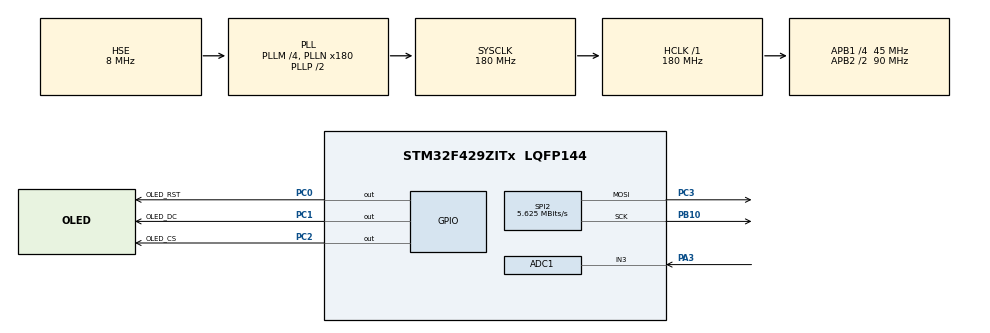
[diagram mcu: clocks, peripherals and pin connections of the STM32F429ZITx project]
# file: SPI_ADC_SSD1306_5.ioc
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ADC1.Channel-0\#ChannelRegularConversion=ADC_CHANNEL_3
ADC1.ContinuousConvMode=DISABLE
ADC1.DiscontinuousConvMode=ENABLE
ADC1.NbrOfConversionFlag=1
ADC1.Rank-0\#ChannelRegularConversion=1
ADC1.SamplingTime-0\#ChannelRegularConversion=ADC_SAMPLETIME_3CYCLES
ADC1.ScanConvMode=ENABLE
ADC1.master=1
Mcu.Family=STM32F4
Mcu.Name=STM32F429ZITx
Mcu.Package=LQFP144
NVIC.PriorityGroup=NVIC_PRIORITYGROUP_4
PA3.Signal=ADCx_IN3
PB10.Mode=TX_Only_Simplex_Unidirect_Master
PB10.Signal=SPI2_SCK
PC0.GPIO_Label=OLED_RST
PC0.GPIO_PuPd=GPIO_PULLUP
PC0.GPIO_Speed=GPIO_SPEED_FREQ_HIGH
PC0.PinState=GPIO_PIN_SET
PC0.Signal=GPIO_Output
PC1.GPIO_Label=OLED_DC
PC1.GPIO_PuPd=GPIO_PULLUP
PC1.GPIO_Speed=GPIO_SPEED_FREQ_HIGH
PC1.PinState=GPIO_PIN_SET
PC1.Signal=GPIO_Output
PC2.GPIO_Label=OLED_CS
PC2.GPIO_PuPd=GPIO_PULLUP
PC2.GPIO_Speed=GPIO_SPEED_FREQ_HIGH
PC2.PinState=GPIO_PIN_SET
PC2.Signal=GPIO_Output
PC3.Mode=TX_Only_Simplex_Unidirect_Master
PC3.Signal=SPI2_MOSI
PH0/OSC_IN.Mode=HSE-External-Oscillator
PH0/OSC_IN.Signal=RCC_OSC_IN
PH1/OSC_OUT.Mode=HSE-External-Oscillator
PH1/OSC_OUT.Signal=RCC_OSC_OUT
ProjectManager.HeapSize=0x200
ProjectManager.StackSize=0x400
ProjectManager.TargetToolchain=STM32CubeIDE
RCC.48MHZClocksFreq_Value=90000000
RCC.AHBFreq_Value=180000000
RCC.APB1CLKDivider=RCC_HCLK_DIV4
RCC.APB1Freq_Value=45000000
RCC.APB1TimFreq_Value=90000000
RCC.APB2CLKDivider=RCC_HCLK_DIV2
RCC.APB2Freq_Value=90000000
RCC.APB2TimFreq_Value=180000000
RCC.CortexFreq_Value=180000000
RCC.HCLKFreq_Value=180000000
RCC.HSE_VALUE=8000000
RCC.HSI_VALUE=16000000
RCC.LSE_VALUE=32768
RCC.PLLM=4
RCC.PLLN=180
RCC.PLLSourceVirtual=RCC_PLLSOURCE_HSE
RCC.SYSCLKFreq_VALUE=180000000
RCC.SYSCLKSource=RCC_SYSCLKSOURCE_PLLCLK
RCC.VCOOutputFreq_Value=360000000
SH.ADCx_IN3.0=ADC1_IN3,IN3
SPI2.BaudRatePrescaler=SPI_BAUDRATEPRESCALER_8
SPI2.CalculateBaudRate=5.625 MBits/s
SPI2.Direction=SPI_DIRECTION_2LINES
SPI2.Mode=SPI_MODE_MASTER
SPI2.VirtualType=VM_MASTER
board=custom

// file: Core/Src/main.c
/* USER CODE BEGIN Header */
/**
  ******************************************************************************
  * @file           : main.c
  * @brief          : Main program body
  ******************************************************************************
  * @attention
  *
  * Copyright (c) 2023 STMicroelectronics.
  * All rights reserved.
  *
  * This software is licensed under terms that can be found in the LICENSE file
  * in the root directory of this software component.
  * If no LICENSE file comes with this software, it is provided AS-IS.
  *
  ******************************************************************************
  */
/* USER CODE END Header */
#include "main.h"

/* USER CODE BEGIN Includes */
#include "stm32f4xx_hal.h"

#include "u8g2.h"

#include "stdio.h"
#include "string.h"
#include "stdlib.h"
/* USER CODE END Includes */

ADC_HandleTypeDef hadc1;

SPI_HandleTypeDef hspi2;

/* USER CODE BEGIN PV */
const uint8_t sndBuff[]="VOLTAGE:";

float adcVal=0;
char buffer[5];
typedef struct _point
  {
	  int x;
	  int y;
  }Point;

int i=1;
Point point[128];

/* USER CODE END PV */

void SystemClock_Config(void);
static void MX_GPIO_Init(void);
static void MX_ADC1_Init(void);
static void MX_SPI2_Init(void);

/* USER CODE BEGIN 0 */
#define bitmap_width 128
#define bitmap_height 64
static unsigned char bitmap[128*8]=
		{
				0xff, 0xff, 0xff, 0xff, 0xff, 0xff, 0xff, 0xff, 0xff, 0xff, 0xff, 0xff, 0xff, 0xff, 0xff, 0xff,
						0xff, 0xff, 0xff, 0xff, 0xff, 0xff, 0xff, 0xff, 0xff, 0xff, 0xff, 0xff, 0xff, 0xff, 0xff, 0xff,
						0xff, 0xff, 0xff, 0xff, 0xff, 0xff, 0xff, 0xff, 0xff, 0xff, 0xff, 0xff, 0xff, 0xff, 0xff, 0xff,
						0xff, 0xff, 0xff, 0xff, 0xff, 0xff, 0xff, 0xff, 0xff, 0xff, 0xff, 0xff, 0xff, 0xff, 0xff, 0xff,
						0xff, 0xff, 0xff, 0xff, 0xff, 0xff, 0xff, 0xff, 0xff, 0xff, 0xff, 0xff, 0xff, 0xff, 0xff, 0xff,
						0xff, 0xff, 0xff, 0xff, 0xff, 0xff, 0xff, 0xff, 0xff, 0xff, 0xff, 0xff, 0xff, 0xff, 0xff, 0xff,
						0xff, 0xff, 0xff, 0xff, 0xff, 0xff, 0xff, 0xff, 0xff, 0xff, 0xff, 0xff, 0xff, 0xff, 0xff, 0xff,
						0xff, 0xff, 0xff, 0xf7, 0xff, 0xfb, 0xff, 0xff, 0xff, 0xff, 0xff, 0xff, 0xff, 0xff, 0xff, 0xff,
						0xff, 0xff, 0xff, 0xf7, 0xff, 0xfb, 0xff, 0xff, 0xff, 0xff, 0xff, 0xff, 0xff, 0xff, 0xff, 0xff,
						0xff, 0xff, 0x7f, 0xf7, 0xff, 0xf7, 0xff, 0xff, 0xff, 0xff, 0xff, 0xff, 0xff, 0xff, 0xff, 0xff,
						0xff, 0xff, 0x7f, 0xf7, 0xff, 0xf7, 0xff, 0xff, 0xff, 0xff, 0xff, 0x3f, 0x3f, 0xff, 0xff, 0xff,
						0xff, 0xff, 0x3f, 0xf7, 0xff, 0xf7, 0xff, 0xff, 0xff, 0xff, 0xff, 0x3f, 0x3f, 0xff, 0xff, 0xff,
						0xff, 0xff, 0xbf, 0xff, 0xff, 0xef, 0xff, 0xff, 0xf7, 0xff, 0xfe, 0x3e, 0x3f, 0xff, 0xff, 0xff,
						0xff, 0xff, 0xcf, 0xff, 0xff, 0xef, 0xff, 0xff, 0xe3, 0xff, 0xfe, 0x3e, 0x3f, 0xff, 0xff, 0xff,
						0xff, 0xff, 0xe7, 0xff, 0xff, 0xef, 0xff, 0x8f, 0xe3, 0xff, 0xfe, 0x3e, 0x3f, 0xff, 0xff, 0xff,
						0xff, 0xff, 0xf9, 0xff, 0xff, 0xdf, 0xff, 0x8f, 0xe3, 0xff, 0x7c, 0x3c, 0x3f, 0xff, 0xff, 0xff,
						0xff, 0xff, 0xfe, 0xff, 0xff, 0xdf, 0xe7, 0x8f, 0xe3, 0xfc, 0x3c, 0x7c, 0x7f, 0xff, 0xff, 0xff,
						0xff, 0xff, 0xff, 0x7f, 0xff, 0xff, 0xcf, 0xc7, 0xe3, 0xf8, 0x3c, 0x7c, 0x7f, 0xdf, 0xff, 0xff,
						0xff, 0xff, 0xff, 0xff, 0x8f, 0xff, 0x9f, 0xc7, 0xe3, 0xf9, 0x3c, 0x7c, 0x7e, 0x0f, 0xff, 0xff,
						0xff, 0xff, 0xff, 0xff, 0x07, 0xfe, 0x7f, 0x86, 0x03, 0xf1, 0x3c, 0x7c, 0x7c, 0x27, 0xff, 0xff,
						0xff, 0xff, 0xff, 0xff, 0x07, 0xfe, 0xff, 0xc0, 0x03, 0xf3, 0x3c, 0x7c, 0x78, 0xe7, 0xff, 0xff,
						0xff, 0xff, 0xff, 0xff, 0x03, 0xff, 0xff, 0xc7, 0xc3, 0xe2, 0x38, 0x78, 0x79, 0xe7, 0xff, 0xff,
						0xff, 0xff, 0xff, 0xfe, 0x03, 0xff, 0xff, 0xc7, 0xc3, 0xe0, 0x78, 0x78, 0x79, 0xe7, 0xff, 0xff,
						0xff, 0xe0, 0x7f, 0xfe, 0x03, 0xff, 0xff, 0xc7, 0xc3, 0x00, 0xf8, 0x78, 0x71, 0xe7, 0xff, 0xff,
						0xff, 0xff, 0x9f, 0xfc, 0x01, 0xff, 0xff, 0xc7, 0xc3, 0x03, 0xf8, 0x78, 0x71, 0xcf, 0xff, 0xff,
						0xff, 0xff, 0xff, 0xfc, 0x01, 0xff, 0xff, 0xc7, 0xc3, 0xc7, 0xf0, 0x70, 0x71, 0x8f, 0xff, 0xff,
						0xff, 0xff, 0xff, 0xfc, 0x01, 0xff, 0xff, 0xc7, 0xc3, 0xc7, 0xe0, 0x60, 0x71, 0x9f, 0xff, 0xff,
						0xff, 0xff, 0xff, 0xf8, 0x00, 0xff, 0xff, 0xc7, 0xc7, 0xc3, 0xc0, 0x40, 0x71, 0x3f, 0xff, 0xff,
						0xff, 0xff, 0xff, 0xf8, 0x20, 0xff, 0xff, 0xef, 0xc7, 0xe3, 0xe8, 0x68, 0x70, 0x3f, 0xff, 0xff,
						0xff, 0xff, 0xff, 0xf8, 0x20, 0xff, 0xff, 0xff, 0xc7, 0xe1, 0xfc, 0x7c, 0x7c, 0xff, 0xff, 0xff,
						0xff, 0xff, 0x00, 0x00, 0x20, 0x00, 0x07, 0xff, 0xcf, 0xf0, 0x7e, 0xfe, 0xff, 0xff, 0xff, 0xff,
						0xff, 0xfe, 0x00, 0x00, 0x70, 0x00, 0x03, 0xff, 0xff, 0xfd, 0xff, 0xff, 0xcf, 0xfd, 0xff, 0xff,
						0xff, 0xfc, 0x00, 0x00, 0x70, 0x00, 0x01, 0xff, 0xff, 0xff, 0xff, 0xff, 0xcf, 0xf9, 0xff, 0xff,
						0xff, 0xfc, 0x00, 0x00, 0x70, 0x00, 0x01, 0xff, 0xff, 0xff, 0xff, 0xff, 0x8f, 0xf9, 0xff, 0xff,
						0xff, 0xfe, 0x00, 0x00, 0xf8, 0x00, 0x03, 0xff, 0xff, 0xff, 0xff, 0xff, 0x8f, 0xf9, 0xff, 0xff,
						0xff, 0xff, 0x00, 0x7f, 0xff, 0xf0, 0x07, 0xff, 0xff, 0xff, 0xff, 0xff, 0x9f, 0xf9, 0xff, 0xff,
						0xff, 0xff, 0x80, 0x3f, 0xff, 0xe0, 0x0f, 0xff, 0xff, 0xff, 0xff, 0xff, 0x9f, 0xf9, 0xff, 0xff,
						0xff, 0xff, 0xe0, 0x0f, 0xff, 0xc0, 0x3f, 0xff, 0xff, 0xff, 0x1f, 0xff, 0x1f, 0xf9, 0xff, 0xff,
						0xff, 0xff, 0xf0, 0x07, 0xff, 0x00, 0x7f, 0xfc, 0xff, 0xde, 0x0c, 0xff, 0x1f, 0xf9, 0xff, 0xff,
						0xff, 0xff, 0xfc, 0x03, 0xfe, 0x01, 0xff, 0xfc, 0xf3, 0x9c, 0xec, 0xe3, 0x1f, 0xf9, 0xff, 0xff,
						0xff, 0xff, 0xfe, 0x03, 0xfe, 0x03, 0xff, 0xfc, 0xe3, 0x9c, 0xec, 0xc7, 0x1f, 0x91, 0xff, 0xff,
						0xff, 0xff, 0xff, 0x03, 0xfe, 0x07, 0xff, 0xfc, 0x61, 0x99, 0xcc, 0x1f, 0x1f, 0x01, 0xff, 0xff,
						0xff, 0xff, 0xff, 0x07, 0xff, 0x07, 0xff, 0xfc, 0x61, 0xb9, 0xcc, 0x7f, 0x1e, 0x71, 0xff, 0xff,
						0xff, 0xff, 0xff, 0x07, 0x8f, 0x07, 0xff, 0xfc, 0x61, 0x39, 0x9c, 0x7e, 0x1c, 0xf1, 0xff, 0xff,
						0xff, 0xff, 0xfe, 0x06, 0x03, 0x03, 0xff, 0xfe, 0x49, 0x39, 0x3c, 0x7c, 0x1c, 0xf1, 0xff, 0xff,
						0xff, 0xff, 0x3e, 0x0c, 0x01, 0x83, 0xff, 0xfe, 0x58, 0x78, 0x3c, 0x79, 0x1c, 0xf1, 0xff, 0xff,
						0xff, 0xfe, 0x7e, 0x00, 0x00, 0x03, 0xff, 0xfe, 0x18, 0x7c, 0x7e, 0x7f, 0x1c, 0x01, 0xff, 0xff,
						0xff, 0xfc, 0xfc, 0x00, 0x00, 0x01, 0xff, 0xfe, 0x7c, 0x7f, 0xfe, 0xff, 0xbe, 0x03, 0xff, 0xff,
						0xff, 0xfb, 0xfc, 0x00, 0x20, 0x01, 0xff, 0xff, 0xfc, 0xff, 0xff, 0xff, 0xff, 0xff, 0xff, 0xff,
						0xff, 0xf3, 0xfc, 0x00, 0x70, 0x01, 0xff, 0xff, 0xff, 0xff, 0xff, 0xff, 0xff, 0xff, 0xff, 0xff,
						0xff, 0xe7, 0xf8, 0x01, 0xfc, 0x00, 0xff, 0xff, 0xff, 0xff, 0xff, 0xff, 0xff, 0xff, 0xff, 0xff,
						0xff, 0xcf, 0xf8, 0x03, 0xfe, 0x00, 0xff, 0xff, 0xff, 0xff, 0xff, 0xff, 0xff, 0xff, 0xff, 0xff,
						0xff, 0xff, 0xf8, 0x0f, 0xff, 0x80, 0xff, 0xff, 0xff, 0xff, 0xff, 0xff, 0xff, 0xff, 0xff, 0xff,
						0xff, 0xff, 0xf8, 0x3f, 0xff, 0xe0, 0xff, 0xff, 0xff, 0xff, 0xff, 0xff, 0xff, 0xff, 0xff, 0xff,
						0xff, 0xff, 0xfc, 0x7f, 0xff, 0xf1, 0xff, 0xff, 0xff, 0xff, 0xff, 0xff, 0xff, 0xff, 0xff, 0xff,
						0xff, 0xff, 0xff, 0xff, 0xff, 0xff, 0xff, 0xff, 0xff, 0xff, 0xff, 0xff, 0xff, 0xff, 0xff, 0xff,
						0xff, 0xff, 0xff, 0xff, 0xff, 0xff, 0xff, 0xff, 0xff, 0xff, 0xff, 0xff, 0xff, 0xff, 0xff, 0xff,
						0xff, 0xff, 0xff, 0xff, 0xff, 0xff, 0xff, 0xff, 0xff, 0xff, 0xff, 0xff, 0xff, 0xff, 0xff, 0xff,
						0xff, 0xff, 0xff, 0xff, 0xff, 0xff, 0xff, 0xff, 0xff, 0xff, 0xff, 0xff, 0xff, 0xff, 0xff, 0xff,
						0xff, 0xff, 0xff, 0xff, 0xff, 0xff, 0xff, 0xff, 0xff, 0xff, 0xff, 0xff, 0xff, 0xff, 0xff, 0xff,
						0xff, 0xff, 0xff, 0xff, 0xff, 0xff, 0xff, 0xff, 0xff, 0xff, 0xff, 0xff, 0xff, 0xff, 0xff, 0xff,
						0xff, 0xff, 0xff, 0xff, 0xff, 0xff, 0xff, 0xff, 0xff, 0xff, 0xff, 0xff, 0xff, 0xff, 0xff, 0xff,
						0xff, 0xff, 0xff, 0xff, 0xff, 0xff, 0xff, 0xff, 0xff, 0xff, 0xff, 0xff, 0xff, 0xff, 0xff, 0xff,
						0xff, 0xff, 0xff, 0xff, 0xff, 0xff, 0xff, 0xff, 0xff, 0xff, 0xff, 0xff, 0xff, 0xff, 0xff, 0xff
		};
extern uint8_t u8x8_stm32_gpio_and_delay(u8x8_t *u8x8, uint8_t msg, uint8_t arg_int, void *arg_ptr);
extern uint8_t u8x8_byte_stm32_hw_spi(u8x8_t *u8x8, uint8_t msg, uint8_t arg_int, void *arg_ptr);

static u8g2_t u8g2;

/* USER CODE END 0 */

int main(void)
{

  /* MCU Configuration--------------------------------------------------------*/

  /* Reset of all peripherals, Initializes the Flash interface and the Systick. */
  HAL_Init();

  /* Configure the system clock */
  SystemClock_Config();

  /* Initialize all configured peripherals */
  MX_GPIO_Init();
  MX_ADC1_Init();
  MX_SPI2_Init();
  /* USER CODE BEGIN 2 */

  u8g2_Setup_ssd1306_128x64_noname_f(&u8g2, U8G2_R0, u8x8_byte_stm32_hw_spi, u8x8_stm32_gpio_and_delay);

  u8g2_InitDisplay(&u8g2);
  u8g2_SetPowerSave(&u8g2, 0);

  /* USER CODE END 2 */

  /* Infinite loop */
  /* USER CODE BEGIN WHILE */
  point[0].x=0;
  point[0].y=63;

  while (1)
  {

	  u8g2_FirstPage(&u8g2);

	  point[0].x=0;
	  point[0].y=point[127].y;

	  do
	  {

		  HAL_ADC_Start(&hadc1);
		  HAL_ADC_PollForConversion(&hadc1,HAL_MAX_DELAY);
		  adcVal = HAL_ADC_GetValue(&hadc1);

		  int pixel_y=(int)adcVal*64/4096;
		  point[i].x=i;
		  point[i].y=64-pixel_y;

		  float voltage_y=adcVal*(3.3)/4096.0;

		  int char_y=100.0*voltage_y;

		  int hundred_y=char_y/100;
		  int ten_y=char_y/10-(hundred_y*10);
		  int one_y=char_y-hundred_y*100-ten_y*10;

		  buffer[0]='0'+hundred_y;
		  buffer[1]='.';
		  buffer[2]='0'+ten_y;
		  buffer[3]='0'+one_y;

	  	  u8g2_SetFont(&u8g2,u8g2_font_5x7_tr);
	  	  u8g2_DrawStrX2(&u8g2,0,15,buffer);

	  	  for(int j=0;j<i;j++)
	  	  {
	  	  	u8g2_DrawLine(&u8g2,point[j].x,point[j].y,point[j+1].x,point[j+1].y);
	  	  }

	  	  i++;
	  		//HAL_Delay(50);
	  	  if(i==128)
	  	  {
	  		  i=0;
	  		  break;
	  	  }

 }while (u8g2_NextPage(&u8g2));
	  //}while(1);

/*

	  u8g2_FirstPage(&u8g2);
	  	  	while(1)
	  	  		{
	  	  			//u8g2_ClearBuffer(&u8g2);
	  	  			//u8g2_SetDrawColor(&u8g2,1);
	  	  			//u8g2_SetBitmapMode(&u8g2,1);
	  	  			u8g2_DrawBitmap(&u8g2, 0, 0, 16, bitmap_height,  bitmap);

	  	  			//u8g2_SetFont(&u8g2,u8g2_font_5x7_tr);
	  	  			//u8g2_DrawStrX2(&u8g2,0,30,sndBuff);
	  	  			//u8g2_DrawStrX2(&u8g2,0,60,buffer);

	  	  		} while (u8g2_NextPage(&u8g2));
	  	  		//}
*/
	  /* USER CODE END WHILE */

}
}

void SystemClock_Config(void)
{
  RCC_OscInitTypeDef RCC_OscInitStruct = {0};
  RCC_ClkInitTypeDef RCC_ClkInitStruct = {0};

  /** Configure the main internal regulator output voltage
  */
  __HAL_RCC_PWR_CLK_ENABLE();
  __HAL_PWR_VOLTAGESCALING_CONFIG(PWR_REGULATOR_VOLTAGE_SCALE1);

  /** Initializes the RCC Oscillators according to the specified parameters
  * in the RCC_OscInitTypeDef structure.
  */
  RCC_OscInitStruct.OscillatorType = RCC_OSCILLATORTYPE_HSE;
  RCC_OscInitStruct.HSEState = RCC_HSE_ON;
  RCC_OscInitStruct.PLL.PLLState = RCC_PLL_ON;
  RCC_OscInitStruct.PLL.PLLSource = RCC_PLLSOURCE_HSE;
  RCC_OscInitStruct.PLL.PLLM = 4;
  RCC_OscInitStruct.PLL.PLLN = 180;
  RCC_OscInitStruct.PLL.PLLP = RCC_PLLP_DIV2;
  RCC_OscInitStruct.PLL.PLLQ = 4;
  if (HAL_RCC_OscConfig(&RCC_OscInitStruct) != HAL_OK)
  {
    Error_Handler();
  }

  /** Activate the Over-Drive mode
  */
  if (HAL_PWREx_EnableOverDrive() != HAL_OK)
  {
    Error_Handler();
  }

  /** Initializes the CPU, AHB and APB buses clocks
  */
  RCC_ClkInitStruct.ClockType = RCC_CLOCKTYPE_HCLK|RCC_CLOCKTYPE_SYSCLK
                              |RCC_CLOCKTYPE_PCLK1|RCC_CLOCKTYPE_PCLK2;
  RCC_ClkInitStruct.SYSCLKSource = RCC_SYSCLKSOURCE_PLLCLK;
  RCC_ClkInitStruct.AHBCLKDivider = RCC_SYSCLK_DIV1;
  RCC_ClkInitStruct.APB1CLKDivider = RCC_HCLK_DIV4;
  RCC_ClkInitStruct.APB2CLKDivider = RCC_HCLK_DIV2;

  if (HAL_RCC_ClockConfig(&RCC_ClkInitStruct, FLASH_LATENCY_5) != HAL_OK)
  {
    Error_Handler();
  }
}

static void MX_ADC1_Init(void)
{

  ADC_ChannelConfTypeDef sConfig = {0};

  /** Configure the global features of the ADC (Clock, Resolution, Data Alignment and number of conversion)
  */
  hadc1.Instance = ADC1;
  hadc1.Init.ClockPrescaler = ADC_CLOCK_SYNC_PCLK_DIV4;
  hadc1.Init.Resolution = ADC_RESOLUTION_12B;
  hadc1.Init.ScanConvMode = ENABLE;
  hadc1.Init.ContinuousConvMode = DISABLE;
  hadc1.Init.DiscontinuousConvMode = ENABLE;
  hadc1.Init.NbrOfDiscConversion = 1;
  hadc1.Init.ExternalTrigConvEdge = ADC_EXTERNALTRIGCONVEDGE_NONE;
  hadc1.Init.ExternalTrigConv = ADC_SOFTWARE_START;
  hadc1.Init.DataAlign = ADC_DATAALIGN_RIGHT;
  hadc1.Init.NbrOfConversion = 1;
  hadc1.Init.DMAContinuousRequests = DISABLE;
  hadc1.Init.EOCSelection = ADC_EOC_SINGLE_CONV;
  if (HAL_ADC_Init(&hadc1) != HAL_OK)
  {
    Error_Handler();
  }

  /** Configure for the selected ADC regular channel its corresponding rank in the sequencer and its sample time.
  */
  sConfig.Channel = ADC_CHANNEL_3;
  sConfig.Rank = 1;
  sConfig.SamplingTime = ADC_SAMPLETIME_3CYCLES;
  if (HAL_ADC_ConfigChannel(&hadc1, &sConfig) != HAL_OK)
  {
    Error_Handler();
  }

}

static void MX_SPI2_Init(void)
{

  /* SPI2 parameter configuration*/
  hspi2.Instance = SPI2;
  hspi2.Init.Mode = SPI_MODE_MASTER;
  hspi2.Init.Direction = SPI_DIRECTION_2LINES;
  hspi2.Init.DataSize = SPI_DATASIZE_8BIT;
  hspi2.Init.CLKPolarity = SPI_POLARITY_LOW;
  hspi2.Init.CLKPhase = SPI_PHASE_1EDGE;
  hspi2.Init.NSS = SPI_NSS_SOFT;
  hspi2.Init.BaudRatePrescaler = SPI_BAUDRATEPRESCALER_8;
  hspi2.Init.FirstBit = SPI_FIRSTBIT_MSB;
  hspi2.Init.TIMode = SPI_TIMODE_DISABLE;
  hspi2.Init.CRCCalculation = SPI_CRCCALCULATION_DISABLE;
  hspi2.Init.CRCPolynomial = 10;
  if (HAL_SPI_Init(&hspi2) != HAL_OK)
  {
    Error_Handler();
  }

}

static void MX_GPIO_Init(void)
{
  GPIO_InitTypeDef GPIO_InitStruct = {0};

  /* GPIO Ports Clock Enable */
  __HAL_RCC_GPIOH_CLK_ENABLE();
  __HAL_RCC_GPIOC_CLK_ENABLE();
  __HAL_RCC_GPIOA_CLK_ENABLE();
  __HAL_RCC_GPIOB_CLK_ENABLE();

  /*Configure GPIO pin Output Level */
  HAL_GPIO_WritePin(GPIOC, OLED_RST_Pin|OLED_DC_Pin|OLED_CS_Pin, GPIO_PIN_SET);

  /*Configure GPIO pins : OLED_RST_Pin OLED_DC_Pin OLED_CS_Pin */
  GPIO_InitStruct.Pin = OLED_RST_Pin|OLED_DC_Pin|OLED_CS_Pin;
  GPIO_InitStruct.Mode = GPIO_MODE_OUTPUT_PP;
  GPIO_InitStruct.Pull = GPIO_PULLUP;
  GPIO_InitStruct.Speed = GPIO_SPEED_FREQ_HIGH;
  HAL_GPIO_Init(GPIOC, &GPIO_InitStruct);

}

void Error_Handler(void)
{
  __disable_irq();
  while (1)
  {
  }
}
